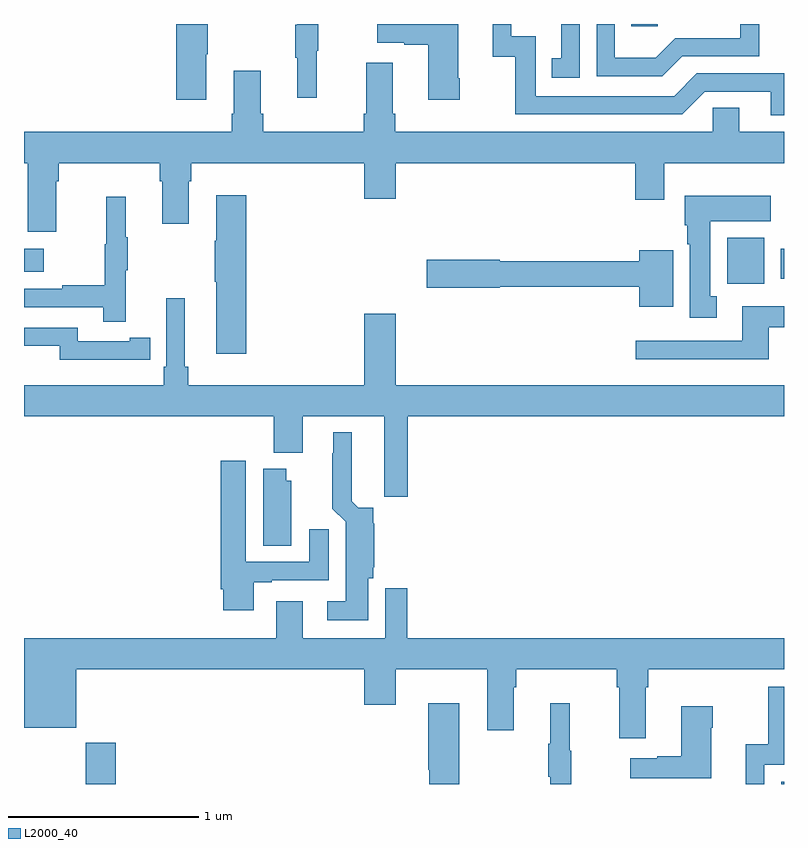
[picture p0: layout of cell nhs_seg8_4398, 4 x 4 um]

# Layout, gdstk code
import gdstk
lib = gdstk.Library(unit=1e-6, precision=1e-09)
def R(c, l, rs):  # rectangles x0, y0, x1, y1
    for r in rs: c.add(gdstk.rectangle(r[:2], r[2:], *l))
def P(c, l, *ps):  # polygons
    for p in ps: c.add(gdstk.Polygon(p, *l))
L2000_40 = (2000, 40)

nhs_seg8_4398 = lib.new_cell('nhs_seg8_4398')
R(nhs_seg8_4398, L2000_40, [(379.324,1111.9,379.484,1112.116), (382.986,1111.9,383,1111.911), (382.7,1114.532,382.897,1114.774), (382.982,1114.56,383,1114.716), (379,1114.595,379.105,1114.717), (382.195,1115.889,382.335,1115.9)])
P(nhs_seg8_4398, L2000_40, [(380.54,1115.76),(380.548,1115.76),(380.548,1115.9),(380.438,1115.9),(380.438,1115.897),(380.427,1115.897),(380.427,1115.723),(380.438,1115.723),(380.438,1115.511),(380.54,1115.511)],
  [(383,1115.64),(382.542,1115.64),(382.422,1115.52),(381.693,1115.52),(381.693,1115.835),(381.564,1115.835),(381.564,1115.9),(381.467,1115.9),(381.467,1115.727),(381.585,1115.727),(381.585,1115.424),(382.464,1115.424),(382.584,1115.544),(382.931,1115.544),(382.931,1115.421),(383,1115.421)],
  [(379.96,1115.74),(379.968,1115.74),(379.968,1115.9),(379.802,1115.9),(379.802,1115.502),(379.96,1115.502)],
  [(381.294,1115.614),(381.286,1115.614),(381.286,1115.9),(380.859,1115.9),(380.859,1115.801),(381.002,1115.801),(381.002,1115.791),(381.128,1115.791),(381.128,1115.502),(381.294,1115.502)],
  [(382.465,1115.73),(382.869,1115.73),(382.869,1115.9),(382.77,1115.9),(382.77,1115.826),(382.428,1115.826),(382.324,1115.722),(382.11,1115.722),(382.11,1115.9),(382.014,1115.9),(382.014,1115.625),(382.36,1115.625)],
  [(381.924,1115.9),(381.827,1115.9),(381.827,1115.721),(381.778,1115.721),(381.778,1115.616),(381.924,1115.616)],
  [(380.801,1115.695),(380.801,1115.428),(380.789,1115.428),(380.789,1115.332),(380.258,1115.332),(380.258,1115.428),(380.245,1115.428),(380.245,1115.653),(380.105,1115.653),(380.105,1115.428),(380.093,1115.428),(380.093,1115.332),(379,1115.332),(379,1115.168),(379.019,1115.168),(379.019,1114.806),(379.171,1114.806),(379.171,1115.072),(379.184,1115.072),(379.184,1115.168),(379.715,1115.168),(379.715,1115.072),(379.727,1115.072),(379.727,1114.848),(379.867,1114.848),(379.867,1115.072),(379.88,1115.072),(379.88,1115.168),(380.792,1115.168),(380.792,1114.98),(380.956,1114.98),(380.956,1115.168),(382.217,1115.168),(382.217,1114.974),(382.369,1114.974),(382.369,1115.168),(383,1115.168),(383,1115.332),(382.765,1115.332),(382.765,1115.459),(382.626,1115.459),(382.626,1115.332),(380.954,1115.332),(380.954,1115.428),(380.941,1115.428),(380.941,1115.695)],
  [(380.171,1114.999),(380.012,1114.999),(380.012,1114.76),(380.005,1114.76),(380.005,1114.543),(380.012,1114.543),(380.012,1114.164),(380.171,1114.164)],
  [(382.645,1114.466),(382.612,1114.466),(382.612,1114.862),(382.93,1114.862),(382.93,1114.996),(382.478,1114.996),(382.478,1114.842),(382.49,1114.842),(382.49,1114.742),(382.505,1114.742),(382.505,1114.353),(382.645,1114.353)],
  [(379.535,1114.603),(379.546,1114.603),(379.546,1114.777),(379.535,1114.777),(379.535,1114.99),(379.432,1114.99),(379.432,1114.74),(379.425,1114.74),(379.425,1114.526),(379.201,1114.526),(379.201,1114.506),(379,1114.506),(379,1114.41),(379.417,1114.41),(379.417,1114.332),(379.535,1114.332)],
  [(382.417,1114.708),(382.238,1114.708),(382.238,1114.652),(381.504,1114.652),(381.504,1114.658),(381.12,1114.658),(381.12,1114.511),(381.504,1114.511),(381.504,1114.516),(382.238,1114.516),(382.238,1114.412),(382.417,1114.412)],
  [(381.02,1113.836),(383,1113.836),(383,1114),(380.956,1114),(380.956,1114.375),(380.792,1114.375),(380.792,1114),(379.865,1114),(379.865,1114.096),(379.846,1114.096),(379.846,1114.456),(379.749,1114.456),(379.749,1114.096),(379.736,1114.096),(379.736,1114),(379,1114),(379,1113.836),(380.315,1113.836),(380.315,1113.644),(380.467,1113.644),(380.467,1113.836),(380.897,1113.836),(380.897,1113.411),(381.02,1113.411)],
  [(382.921,1114.305),(383,1114.305),(383,1114.414),(382.781,1114.414),(382.781,1114.233),(382.221,1114.233),(382.221,1114.136),(382.921,1114.136)],
  [(379.556,1114.134),(379.664,1114.134),(379.664,1114.25),(379.556,1114.25),(379.556,1114.23),(379.284,1114.23),(379.284,1114.302),(379,1114.302),(379,1114.206),(379.188,1114.206),(379.188,1114.133),(379.556,1114.133)],
  [(380.812,1112.982),(380.837,1112.982),(380.837,1113.042),(380.843,1113.042),(380.843,1113.269),(380.837,1113.275),(380.837,1113.354),(380.758,1113.354),(380.725,1113.388),(380.725,1113.751),(380.627,1113.751),(380.627,1113.641),(380.623,1113.641),(380.623,1113.35),(380.693,1113.28),(380.693,1112.863),(380.595,1112.863),(380.595,1112.762),(380.812,1112.762)],
  [(380.209,1112.961),(380.305,1112.961),(380.305,1112.973),(380.605,1112.973),(380.605,1113.241),(380.501,1113.241),(380.501,1113.069),(380.167,1113.069),(380.167,1113.601),(380.036,1113.601),(380.036,1112.926),(380.048,1112.926),(380.048,1112.814),(380.209,1112.814)],
  [(380.407,1113.495),(380.38,1113.495),(380.38,1113.559),(380.258,1113.559),(380.258,1113.154),(380.407,1113.154)],
  [(382.273,1112.408),(382.286,1112.408),(382.286,1112.504),(383,1112.504),(383,1112.668),(381.017,1112.668),(381.017,1112.929),(380.901,1112.929),(380.901,1112.668),(380.467,1112.668),(380.467,1112.863),(380.327,1112.863),(380.327,1112.668),(379,1112.668),(379,1112.195),(379.276,1112.195),(379.276,1112.504),(380.792,1112.504),(380.792,1112.316),(380.956,1112.316),(380.956,1112.504),(381.437,1112.504),(381.437,1112.184),(381.577,1112.184),(381.577,1112.408),(381.59,1112.408),(381.59,1112.504),(382.121,1112.504),(382.121,1112.408),(382.133,1112.408),(382.133,1112.142),(382.273,1112.142)],
  [(382.896,1112.001),(383,1112.001),(383,1112.412),(382.917,1112.412),(382.917,1112.11),(382.799,1112.11),(382.799,1111.9),(382.896,1111.9)],
  [(381.88,1112.076),(381.872,1112.076),(381.872,1112.326),(381.77,1112.326),(381.77,1112.113),(381.759,1112.113),(381.759,1111.939),(381.77,1111.939),(381.77,1111.9),(381.88,1111.9)],
  [(381.292,1112.326),(381.128,1112.326),(381.128,1111.974),(381.134,1111.974),(381.134,1111.9),(381.292,1111.9)],
  [(382.618,1112.195),(382.626,1112.195),(382.626,1112.308),(382.46,1112.308),(382.46,1112.045),(382.334,1112.045),(382.334,1112.035),(382.191,1112.035),(382.191,1111.931),(382.618,1111.931)])

lib.write_gds('nhs_seg8_4398.gds')
